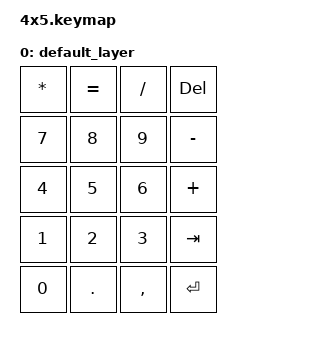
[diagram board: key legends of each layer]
#include <behaviors.dtsi>
#include <dt-bindings/zmk/keys.h>
#include <dt-bindings/zmk/bt.h>

/ {
    keymap {
        compatible = "zmk,keymap";

        default_layer {
            // ------------------------------------------------------------------------------------------------------------
            // |  *  |   = |  /  |  DEL | 
            // |  7  |  8  |  9  |  -   | 
            // |  4  |  5  |  6  |  +   |
            // |  1  |  2  |  3  |  TAB |
            // |  0  |  .  | ,   | ENT  |
            bindings = <
&kp ASTERISK    &kp EQUAL   &kp SLASH   &kp DEL
&kp N7          &kp N8      &kp N9      &kp MINUS
&kp N4          &kp N5      &kp N6      &kp PLUS
&kp N1          &kp N2      &kp N3      &kp TAB
&kp N0          &kp DOT     &kp COMMA   &kp RET
            >;
        };
    };
};
